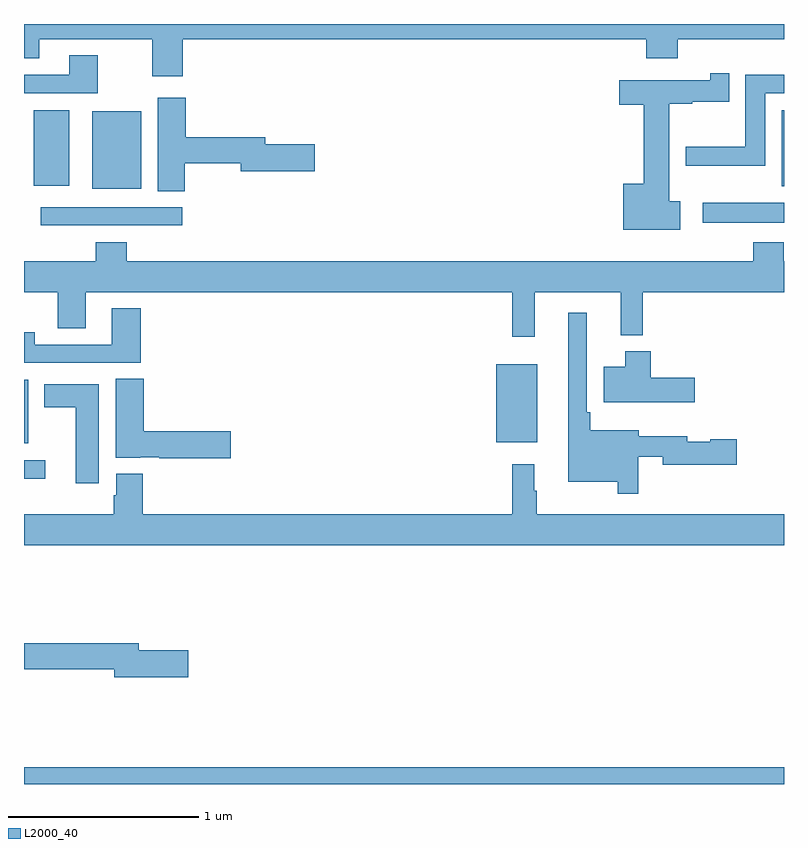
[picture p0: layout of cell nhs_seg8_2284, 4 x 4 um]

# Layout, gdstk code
import gdstk
lib = gdstk.Library(unit=1e-6, precision=1e-09)
def R(c, l, rs):  # rectangles x0, y0, x1, y1
    for r in rs: c.add(gdstk.rectangle(r[:2], r[2:], *l))
def P(c, l, *ps):  # polygons
    for p in ps: c.add(gdstk.Polygon(p, *l))
L2000_40 = (2000, 40)

nhs_seg8_2284 = lib.new_cell('nhs_seg8_2284')
R(nhs_seg8_2284, L2000_40, [(255,1125.9,259,1125.988), (255,1127.507,255.112,1127.604), (255,1127.693,255.022,1128.028), (257.486,1127.699,257.701,1128.109), (255.087,1128.84,255.832,1128.936), (258.573,1128.854,259,1128.958), (255.359,1129.034,255.616,1129.441), (258.989,1129.046,259,1129.447), (255.05,1129.049,255.238,1129.447)])
P(nhs_seg8_2284, L2000_40, [(255.836,1129.82),(258.275,1129.82),(258.275,1129.721),(258.44,1129.721),(258.44,1129.82),(259,1129.82),(259,1129.9),(255,1129.9),(255,1129.721),(255.079,1129.721),(255.079,1129.82),(255.676,1129.82),(255.676,1129.626),(255.836,1129.626)],
  [(255.387,1129.735),(255.239,1129.735),(255.239,1129.632),(255,1129.632),(255,1129.536),(255.387,1129.536)],
  [(258.454,1128.968),(258.397,1128.968),(258.397,1129.481),(258.516,1129.481),(258.516,1129.492),(258.712,1129.492),(258.712,1129.642),(258.612,1129.642),(258.612,1129.603),(258.132,1129.603),(258.132,1129.474),(258.263,1129.474),(258.263,1129.06),(258.155,1129.06),(258.155,1128.818),(258.454,1128.818)],
  [(258.901,1129.536),(259,1129.536),(259,1129.634),(258.797,1129.634),(258.797,1129.254),(258.482,1129.254),(258.482,1129.154),(258.901,1129.154)],
  [(255.846,1129.168),(256.142,1129.168),(256.142,1129.126),(256.531,1129.126),(256.531,1129.268),(256.27,1129.268),(256.27,1129.304),(255.851,1129.304),(255.851,1129.513),(255.704,1129.513),(255.704,1129.021),(255.846,1129.021)],
  [(257.687,1128.488),(258.14,1128.488),(258.14,1128.263),(258.257,1128.263),(258.257,1128.488),(259,1128.488),(259,1128.652),(258.999,1128.652),(258.999,1128.751),(258.839,1128.751),(258.839,1128.652),(255.542,1128.652),(255.542,1128.751),(255.377,1128.751),(255.377,1128.652),(255,1128.652),(255,1128.488),(255.178,1128.488),(255.178,1128.298),(255.325,1128.298),(255.325,1128.488),(257.569,1128.488),(257.569,1128.255),(257.687,1128.255)],
  [(255.614,1128.403),(255.461,1128.403),(255.461,1128.213),(255.057,1128.213),(255.057,1128.277),(255,1128.277),(255,1128.117),(255.614,1128.117)],
  [(258.234,1127.622),(258.362,1127.622),(258.362,1127.579),(258.751,1127.579),(258.751,1127.714),(258.612,1127.714),(258.612,1127.701),(258.49,1127.701),(258.49,1127.731),(258.235,1127.731),(258.235,1127.761),(257.981,1127.761),(257.981,1127.857),(257.961,1127.857),(257.961,1128.379),(257.864,1128.379),(257.864,1127.492),(258.126,1127.492),(258.126,1127.427),(258.234,1127.427)],
  [(258.529,1128.039),(258.299,1128.039),(258.299,1128.178),(258.164,1128.178),(258.164,1128.097),(258.05,1128.097),(258.05,1127.909),(258.529,1127.909)],
  [(256.087,1127.756),(255.629,1127.756),(255.629,1128.032),(255.482,1128.032),(255.482,1127.618),(255.612,1127.618),(255.612,1127.621),(255.712,1127.621),(255.712,1127.614),(256.087,1127.614)],
  [(255.394,1128.004),(255.107,1128.004),(255.107,1127.882),(255.272,1127.882),(255.272,1127.484),(255.394,1127.484)],
  [(259,1127.32),(257.698,1127.32),(257.698,1127.444),(257.686,1127.444),(257.686,1127.584),(257.569,1127.584),(257.569,1127.32),(255.626,1127.32),(255.626,1127.533),(255.485,1127.533),(255.485,1127.421),(255.473,1127.421),(255.473,1127.32),(255,1127.32),(255,1127.156),(259,1127.156)],
  [(255.865,1126.604),(255.604,1126.604),(255.604,1126.64),(255,1126.64),(255,1126.504),(255.476,1126.504),(255.476,1126.462),(255.865,1126.462)])

lib.write_gds('nhs_seg8_2284.gds')
